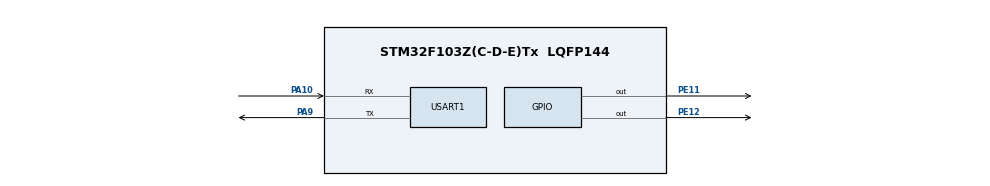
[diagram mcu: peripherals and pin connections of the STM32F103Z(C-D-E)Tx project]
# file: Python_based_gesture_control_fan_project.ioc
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Mcu.Family=STM32F1
Mcu.Name=STM32F103Z(C-D-E)Tx
Mcu.Package=LQFP144
NVIC.PriorityGroup=NVIC_PRIORITYGROUP_4
NVIC.USART1_IRQn=true\:0\:0\:false\:false\:true\:true\:true\:true
PA10.Mode=Asynchronous
PA10.Signal=USART1_RX
PA9.Mode=Asynchronous
PA9.Signal=USART1_TX
PE11.Signal=GPIO_Output
PE12.Signal=GPIO_Output
ProjectManager.HeapSize=0x200
ProjectManager.StackSize=0x400
ProjectManager.TargetToolchain=STM32CubeIDE
RCC.APB1Freq_Value=8000000
RCC.APB2Freq_Value=8000000
USART1.VirtualMode=VM_ASYNC
VP_SYS_VS_ND.Mode=No_Debug
board=custom

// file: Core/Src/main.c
/* USER CODE BEGIN Header */
/**
  ******************************************************************************
  * @file           : main.c
  * @brief          : Main program body
  ******************************************************************************
  * @attention
  *
  * Copyright (c) 2025 STMicroelectronics.
  * All rights reserved.
  *
  * This software is licensed under terms that can be found in the LICENSE file
  * in the root directory of this software component.
  * If no LICENSE file comes with this software, it is provided AS-IS.
  *
  ******************************************************************************
  */
/* USER CODE END Header */
#include "main.h"

UART_HandleTypeDef huart1;

/* USER CODE BEGIN PV */

extern UART_HandleTypeDef huart1;  // 如果编译说重复，就删掉这一行

uint8_t g_rx_byte = 0;  // 接收 1 个字节的缓冲

// 简单用 PE11、PE12 两位编码 0~3 档
// level: 0=关, 1=低速, 2=中速, 3=高速
void Fan_SetLevel(uint8_t level)
{
    switch (level)
    {
    case 0: // 全关
        HAL_GPIO_WritePin(GPIOE, GPIO_PIN_11 | GPIO_PIN_12, GPIO_PIN_RESET);
        break;
    case 1: // PE11 = 1, PE12 = 0
        HAL_GPIO_WritePin(GPIOE, GPIO_PIN_11, GPIO_PIN_SET);
        HAL_GPIO_WritePin(GPIOE, GPIO_PIN_12, GPIO_PIN_RESET);
        break;
    case 2: // PE11 = 0, PE12 = 1
        HAL_GPIO_WritePin(GPIOE, GPIO_PIN_11, GPIO_PIN_RESET);
        HAL_GPIO_WritePin(GPIOE, GPIO_PIN_12, GPIO_PIN_SET);
        break;
    case 3: // PE11 = 1, PE12 = 1
        HAL_GPIO_WritePin(GPIOE, GPIO_PIN_11 | GPIO_PIN_12, GPIO_PIN_SET);
        break;
    default:
        break;
    }
}

/* USER CODE END PV */

void SystemClock_Config(void);
static void MX_GPIO_Init(void);
static void MX_USART1_UART_Init(void);

int main(void)
{

  /* MCU Configuration--------------------------------------------------------*/

  /* Reset of all peripherals, Initializes the Flash interface and the Systick. */
  HAL_Init();

  /* Configure the system clock */
  SystemClock_Config();

  /* Initialize all configured peripherals */
  MX_GPIO_Init();
  MX_USART1_UART_Init();
  /* USER CODE BEGIN 2 */
  // 启动串口接收中断，接收 1 个字节
    HAL_UART_Receive_IT(&huart1, &g_rx_byte, 1);
  /* USER CODE END 2 */

  /* Infinite loop */
  while (1)
  {

  }
}

void SystemClock_Config(void)
{
  RCC_OscInitTypeDef RCC_OscInitStruct = {0};
  RCC_ClkInitTypeDef RCC_ClkInitStruct = {0};

  /** Initializes the RCC Oscillators according to the specified parameters
  * in the RCC_OscInitTypeDef structure.
  */
  RCC_OscInitStruct.OscillatorType = RCC_OSCILLATORTYPE_HSI;
  RCC_OscInitStruct.HSIState = RCC_HSI_ON;
  RCC_OscInitStruct.HSICalibrationValue = RCC_HSICALIBRATION_DEFAULT;
  RCC_OscInitStruct.PLL.PLLState = RCC_PLL_NONE;
  if (HAL_RCC_OscConfig(&RCC_OscInitStruct) != HAL_OK)
  {
    Error_Handler();
  }

  /** Initializes the CPU, AHB and APB buses clocks
  */
  RCC_ClkInitStruct.ClockType = RCC_CLOCKTYPE_HCLK|RCC_CLOCKTYPE_SYSCLK
                              |RCC_CLOCKTYPE_PCLK1|RCC_CLOCKTYPE_PCLK2;
  RCC_ClkInitStruct.SYSCLKSource = RCC_SYSCLKSOURCE_HSI;
  RCC_ClkInitStruct.AHBCLKDivider = RCC_SYSCLK_DIV1;
  RCC_ClkInitStruct.APB1CLKDivider = RCC_HCLK_DIV1;
  RCC_ClkInitStruct.APB2CLKDivider = RCC_HCLK_DIV1;

  if (HAL_RCC_ClockConfig(&RCC_ClkInitStruct, FLASH_LATENCY_0) != HAL_OK)
  {
    Error_Handler();
  }
}

static void MX_USART1_UART_Init(void)
{

  huart1.Instance = USART1;
  huart1.Init.BaudRate = 115200;
  huart1.Init.WordLength = UART_WORDLENGTH_8B;
  huart1.Init.StopBits = UART_STOPBITS_1;
  huart1.Init.Parity = UART_PARITY_NONE;
  huart1.Init.Mode = UART_MODE_TX_RX;
  huart1.Init.HwFlowCtl = UART_HWCONTROL_NONE;
  huart1.Init.OverSampling = UART_OVERSAMPLING_16;
  if (HAL_UART_Init(&huart1) != HAL_OK)
  {
    Error_Handler();
  }

}

static void MX_GPIO_Init(void)
{
  GPIO_InitTypeDef GPIO_InitStruct = {0};

  /* GPIO Ports Clock Enable */
  __HAL_RCC_GPIOE_CLK_ENABLE();
  __HAL_RCC_GPIOA_CLK_ENABLE();

  /*Configure GPIO pin Output Level */
  HAL_GPIO_WritePin(GPIOE, GPIO_PIN_11|GPIO_PIN_12, GPIO_PIN_RESET);

  /*Configure GPIO pins : PE11 PE12 */
  GPIO_InitStruct.Pin = GPIO_PIN_11|GPIO_PIN_12;
  GPIO_InitStruct.Mode = GPIO_MODE_OUTPUT_PP;
  GPIO_InitStruct.Pull = GPIO_NOPULL;
  GPIO_InitStruct.Speed = GPIO_SPEED_FREQ_LOW;
  HAL_GPIO_Init(GPIOE, &GPIO_InitStruct);

}

/* USER CODE BEGIN 4 */

// 串口接收完成回调（中断方式）
void HAL_UART_RxCpltCallback(UART_HandleTypeDef *huart)
{
    if (huart->Instance == USART1)  // 确认是我们用的那一路
    {
        uint8_t c = g_rx_byte;

        // 根据收到的字符控制风扇
        switch (c)
        {
        case '0':
            Fan_SetLevel(0);
            // 这里可以 printf 一句确认：HAL_UART_Transmit 或 printf
            break;
        case '1':
            Fan_SetLevel(1);
            break;
        case '2':
            Fan_SetLevel(2);
            break;
        case '3':
            Fan_SetLevel(3);
            break;
        default:
            // 未知命令，可以忽略
            break;
        }

        // 再次启动下一次接收，继续收 1 个字节
        HAL_UART_Receive_IT(&huart1, &g_rx_byte, 1);
    }
}

/* USER CODE END 4 */

void Error_Handler(void)
{
  __disable_irq();
  while (1)
  {
  }
}
